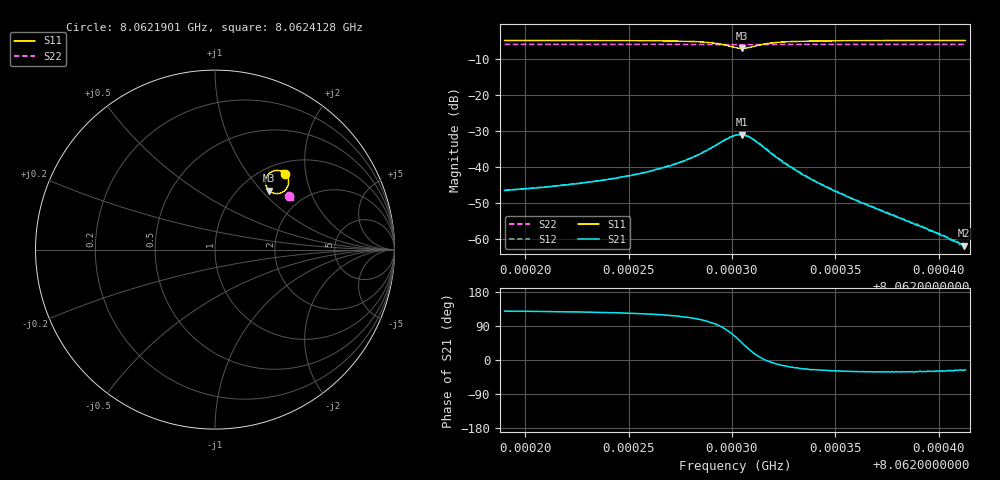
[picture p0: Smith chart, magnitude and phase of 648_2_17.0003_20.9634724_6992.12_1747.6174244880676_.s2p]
#  HZ  S  RI  R  50.00
! Rohde & Schwarz Vector Network Analyzer
! Rohde-Schwarz,ZNB20-2Port,1311601062101988,3.16
! Created: UTC 3/20/2024, 11:21:07 PM
! freq[Hz]  re:S11  im:S11  re:S21  im:S21  re:S12  im:S12  re:S22  im:S22
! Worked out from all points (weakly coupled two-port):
!   401 points, 8.0621901 GHz to 8.0624128 GHz, reference 50 ohm
!   highest |S21| = -30.97 dB at 8.0623048 GHz (marker M1); lowest = -61.8 dB at 8.0624122 GHz (marker M2)
!   lowest |S11| = -7.0 dB at 8.0623048 GHz (marker M3), VSWR 2.61, Z = 67.2 + j55.2 ohm
!   |S11| at or under -10 dB: nowhere
!   |S22| runs from -6.0 to -5.9 dB; largest |S21 - S12| = 0.0014
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8.06219012e9  0.3912 0.4224  -0.00299 0.00369  -0.00278 0.00387  0.4098 0.301
8.06222742e9  0.3967 0.4157  -0.00356 0.00481  -0.00331 0.00508  0.4112 0.2989
8.0622469e9  0.4008 0.4095  -0.00409 0.006  -0.00372 0.0063  0.4119 0.2977
8.06226471e9  0.4059 0.399  -0.00465 0.00823  -0.00421 0.0085  0.4126 0.2964
8.06227696e9  0.4094 0.3845  -0.00487 0.0112  -0.00434 0.0116  0.4129 0.295
8.06228475e9  0.4093 0.3677  -0.00439 0.0147  -0.00354 0.0151  0.4129 0.294
8.06229032e9  0.4038 0.349  -0.00268 0.0186  -0.0017 0.0187  0.4128 0.2931
8.06229644e9  0.3807 0.3223  0.00302 0.0236  0.00425 0.0234  0.4116 0.2919
8.06230145e9  0.3363 0.3125  0.0129 0.0246  0.0138 0.0239  0.4098 0.2917
8.06230479e9  0.3018 0.3286  0.0199 0.0201  0.0208 0.0194  0.4086 0.2927
8.06230702e9  0.2866 0.3494  0.0225 0.0151  0.0234 0.0145  0.4082 0.2938
8.06230925e9  0.2807 0.3726  0.0233 0.0101  0.024 0.00926  0.4083 0.2945
8.0623176e9  0.305 0.4269  0.0167 -0.00108  0.0169 -0.00196  0.4104 0.2962
8.06232595e9  0.332 0.4396  0.0106 -0.00304  0.0106 -0.0037  0.4121 0.296
8.06233875e9  0.3542 0.4403  0.00603 -0.00289  0.00596 -0.0032  0.4133 0.2953
8.06235601e9  0.3679 0.437  0.00337 -0.0019  0.00326 -0.00214  0.4146 0.2942
8.06237605e9  0.3763 0.4334  0.00189 -0.00115  0.00187 -0.00127  0.4155 0.2928
8.06239052e9  0.3799 0.4312  0.00133 -0.000759  0.00128 -0.000865  0.416 0.292
8.06240333e9  0.3824 0.4295  0.00094 -0.000526  0.000921 -0.00055  0.4166 0.2912
8.06240889e9  0.3834 0.4289  0.000799 -0.000416  0.000804 -0.000446  0.4168 0.291
8.06241223e9  0.384 0.4284  0.000725 -0.00037  0.000685 -0.000407  0.4169 0.2907
8.06241279e9  0.384 0.4286  0.000735 -0.000358  0.000682 -0.000425  0.417 0.2906
